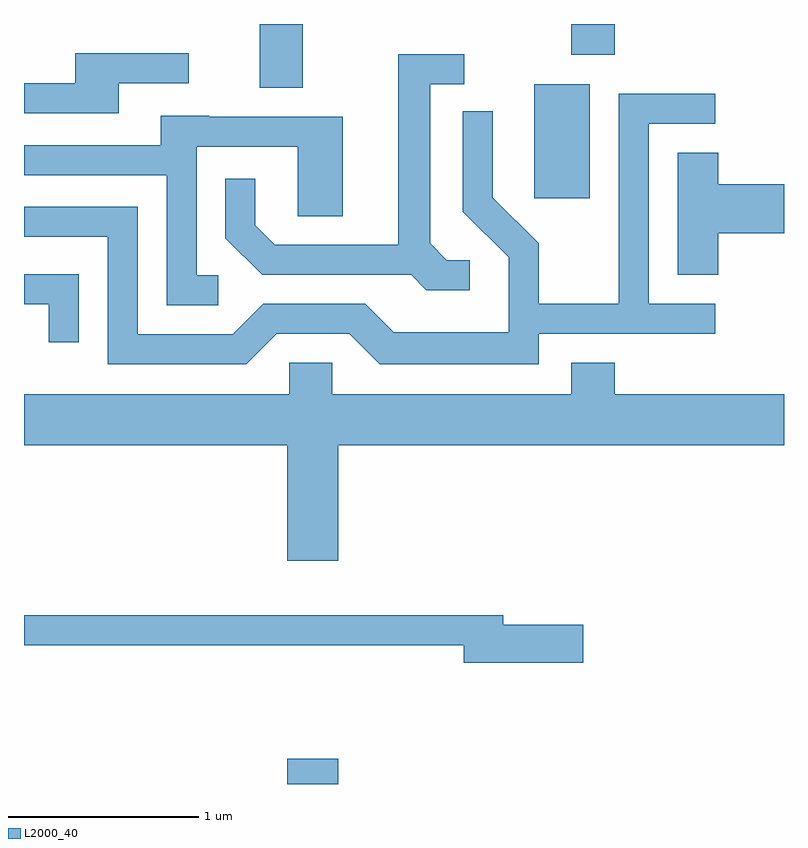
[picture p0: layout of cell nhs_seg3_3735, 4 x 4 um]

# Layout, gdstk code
import gdstk
lib = gdstk.Library(unit=1e-6, precision=1e-09)
def R(c, l, rs):  # rectangles x0, y0, x1, y1
    for r in rs: c.add(gdstk.rectangle(r[:2], r[2:], *l))
def P(c, l, *ps):  # polygons
    for p in ps: c.add(gdstk.Polygon(p, *l))
L2000_40 = (2000, 40)

nhs_seg3_3735 = lib.new_cell('nhs_seg3_3735')
R(nhs_seg3_3735, L2000_40, [(294.996,1241.892,295.264,1242.024), (296.296,1244.976,296.589,1245.574), (294.851,1245.556,295.079,1245.892), (296.491,1245.731,296.719,1245.892)])
P(nhs_seg3_3735, L2000_40, [(294.109,1245.581),(294.478,1245.581),(294.478,1245.739),(293.881,1245.739),(293.881,1245.579),(293.611,1245.579),(293.611,1245.421),(294.109,1245.421)],
  [(295.958,1244.649),(295.837,1244.649),(295.749,1244.737),(295.749,1245.576),(295.928,1245.576),(295.928,1245.734),(295.581,1245.734),(295.581,1244.729),(294.932,1244.729),(294.829,1244.832),(294.829,1245.078),(294.671,1245.078),(294.671,1244.764),(294.864,1244.571),(295.649,1244.571),(295.729,1244.491),(295.958,1244.491)],
  [(294.942,1244.261),(295.324,1244.261),(295.484,1244.101),(296.319,1244.101),(296.319,1244.261),(297.248,1244.261),(297.248,1244.419),(296.899,1244.419),(296.899,1245.366),(297.248,1245.366),(297.248,1245.524),(296.741,1245.524),(296.741,1244.419),(296.319,1244.419),(296.319,1244.737),(296.079,1244.977),(296.079,1245.433),(295.921,1245.433),(295.921,1244.904),(296.161,1244.664),(296.161,1244.269),(295.557,1244.269),(295.407,1244.419),(294.869,1244.419),(294.709,1244.259),(294.209,1244.259),(294.209,1244.929),(293.611,1244.929),(293.611,1244.771),(294.051,1244.771),(294.051,1244.101),(294.782,1244.101)],
  [(294.633,1244.569),(294.519,1244.569),(294.519,1245.246),(295.051,1245.246),(295.051,1244.881),(295.289,1244.881),(295.289,1245.404),(294.585,1245.404),(294.585,1245.409),(294.331,1245.409),(294.331,1245.254),(293.611,1245.254),(293.611,1245.096),(294.361,1245.096),(294.361,1244.411),(294.633,1244.411)],
  [(297.264,1244.791),(297.611,1244.791),(297.611,1245.049),(297.264,1245.049),(297.264,1245.214),(297.051,1245.214),(297.051,1244.571),(297.264,1244.571)],
  [(293.899,1244.574),(293.611,1244.574),(293.611,1244.416),(293.741,1244.416),(293.741,1244.218),(293.899,1244.218)],
  [(295.264,1243.676),(297.611,1243.676),(297.611,1243.944),(296.719,1243.944),(296.719,1244.109),(296.491,1244.109),(296.491,1243.944),(295.234,1243.944),(295.234,1244.109),(295.006,1244.109),(295.006,1243.944),(293.611,1243.944),(293.611,1243.676),(294.996,1243.676),(294.996,1243.066),(295.264,1243.066)],
  [(296.554,1242.729),(296.134,1242.729),(296.134,1242.779),(293.611,1242.779),(293.611,1242.621),(295.926,1242.621),(295.926,1242.531),(296.554,1242.531)])

lib.write_gds('nhs_seg3_3735.gds')
